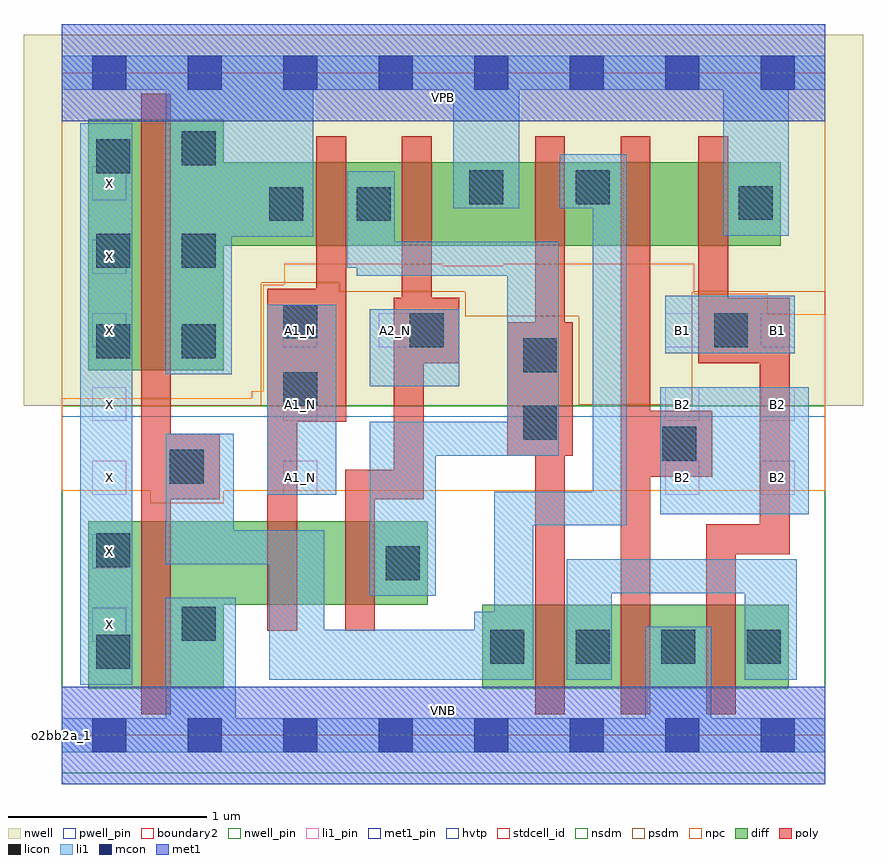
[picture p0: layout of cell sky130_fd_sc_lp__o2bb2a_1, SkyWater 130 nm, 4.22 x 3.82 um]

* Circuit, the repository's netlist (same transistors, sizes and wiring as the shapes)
* Copyright 2020 The SkyWater PDK Authors
*
* Licensed under the Apache License, Version 2.0 (the "License");
* you may not use this file except in compliance with the License.
* You may obtain a copy of the License at
*
*     https://www.apache.org/licenses/LICENSE-2.0
*
* Unless required by applicable law or agreed to in writing, software
* distributed under the License is distributed on an "AS IS" BASIS,
* WITHOUT WARRANTIES OR CONDITIONS OF ANY KIND, either express or implied.
* See the License for the specific language governing permissions and
* limitations under the License.
*
* SPDX-License-Identifier: Apache-2.0

.SUBCKT sky130_fd_sc_lp__o2bb2a_1 A1_N A2_N B1 B2 VGND VNB VPB VPWR X
*.PININFO A1_N:I A2_N:I B1:I B2:I VGND:I VNB:I VPB:I VPWR:I X:O
MMIN2 X y VGND VNB sky130_fd_pr__nfet_01v8 m=1 w=0.84U l=0.15U mult=1 sa=0.265
+ sb=0.265 sd=0.28 area=0.063 perim=1.14
MMNnand0 VGND A1_N sndNA1N VNB sky130_fd_pr__nfet_01v8 m=1 w=0.42U l=0.15U mult=1
+ sa=0.265 sb=0.265 sd=0.28 area=0.063 perim=1.14
MMNnand1 sndNA1N A2_N inand VNB sky130_fd_pr__nfet_01v8 m=1 w=0.42U l=0.15U mult=1
+ sa=0.265 sb=0.265 sd=0.28 area=0.063 perim=1.14
MMNaoi10 nmid B1 VGND VNB sky130_fd_pr__nfet_01v8 m=1 w=0.42U l=0.15U mult=1 sa=0.265
+ sb=0.265 sd=0.28 area=0.063 perim=1.14
MMNaoi11 nmid B2 VGND VNB sky130_fd_pr__nfet_01v8 m=1 w=0.42U l=0.15U mult=1 sa=0.265
+ sb=0.265 sd=0.28 area=0.063 perim=1.14
MMNaoi20 y inand nmid VNB sky130_fd_pr__nfet_01v8 m=1 w=0.42U l=0.15U mult=1 sa=0.265
+ sb=0.265 sd=0.28 area=0.063 perim=1.14
MMIP2 X y VPWR VPB sky130_fd_pr__pfet_01v8_hvt m=1 w=1.26U l=0.15U mult=1 sa=0.265
+ sb=0.265 sd=0.28 area=0.063 perim=1.14
MMPnand0 inand A1_N VPWR VPB sky130_fd_pr__pfet_01v8_hvt m=1 w=0.42U l=0.15U mult=1
+ sa=0.265 sb=0.265 sd=0.28 area=0.063 perim=1.14
MMPnand1 inand A2_N VPWR VPB sky130_fd_pr__pfet_01v8_hvt m=1 w=0.42U l=0.15U mult=1
+ sa=0.265 sb=0.265 sd=0.28 area=0.063 perim=1.14
MMPaoi10 VPWR B1 sndPB1 VPB sky130_fd_pr__pfet_01v8_hvt m=1 w=0.42U l=0.15U mult=1
+ sa=0.265 sb=0.265 sd=0.28 area=0.063 perim=1.14
MMPaoi11 sndPB1 B2 y VPB sky130_fd_pr__pfet_01v8_hvt m=1 w=0.42U l=0.15U mult=1
+ sa=0.265 sb=0.265 sd=0.28 area=0.063 perim=1.14
MMPaoi20 y inand VPWR VPB sky130_fd_pr__pfet_01v8_hvt m=1 w=0.42U l=0.15U mult=1
+ sa=0.265 sb=0.265 sd=0.28 area=0.063 perim=1.14
.ENDS sky130_fd_sc_lp__o2bb2a_1

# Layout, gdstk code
import gdstk
lib = gdstk.Library(unit=1e-6, precision=1e-09)
def R(c, l, rs):  # rectangles x0, y0, x1, y1
    for r in rs: c.add(gdstk.rectangle(r[:2], r[2:], *l))
def A(c, l, x, y, w, h, nx, ny, dx, dy):  # array of equal rectangles
    R(c, l, [(x+i*dx, y+j*dy, x+i*dx+w, y+j*dy+h) for i in range(nx) for j in range(ny)])
def P(c, l, *ps):  # polygons
    for p in ps: c.add(gdstk.Polygon(p, *l))
nwell_pin = (64, 16)
nwell = (64, 20)
diff = (65, 20)
poly = (66, 20)
licon = (66, 44)
li1_pin = (67, 16)
li1 = (67, 20)
mcon = (67, 44)
met1_pin = (68, 16)
met1 = (68, 20)
hvtp = (78, 44)
stdcell_id = (81, 4)
nsdm = (93, 44)
psdm = (94, 20)
npc = (95, 20)
pwell_pin = (122, 16)
boundary2 = (236, 0)

sky130_fd_sc_lp__o2bb2a_ = lib.new_cell('sky130_fd_sc_lp__o2bb2a_1')
R(sky130_fd_sc_lp__o2bb2a_, nwell_pin, [(0,3.085,3.84,3.33)])
R(sky130_fd_sc_lp__o2bb2a_, nwell, [(-0.19,1.655,4.03,3.52)])
R(sky130_fd_sc_lp__o2bb2a_, diff, [(2.115,0.235,3.655,0.655)])
P(sky130_fd_sc_lp__o2bb2a_, diff, [(1.84,1.075),(0.135,1.075),(0.135,0.235),(0.815,0.235),(0.815,0.655),(1.84,0.655)],
  [(3.615,2.88),(0.815,2.88),(0.815,3.095),(0.135,3.095),(0.135,1.835),(0.815,1.835),(0.815,2.46),(3.615,2.46)])
P(sky130_fd_sc_lp__o2bb2a_, poly, [(0.795,1.515),(0.55,1.515),(0.55,3.225),(0.4,3.225),(0.4,0.105),(0.55,0.105),(0.55,1.185),(0.795,1.185)],
  [(1.43,3.01),(1.28,3.01),(1.28,2.245),(1.035,2.245),(1.035,0.525),(1.185,0.525),(1.185,1.575),(1.43,1.575)],
  [(2,2.2),(1.86,2.2),(1.86,3.01),(1.71,3.01),(1.71,2.2),(1.67,2.2),(1.67,1.335),(1.425,1.335),(1.425,0.525),(1.575,0.525),(1.575,1.185),(1.82,1.185),(1.82,1.87),(2,1.87)],
  [(2.57,2.075),(2.53,2.075),(2.53,3.01),(2.38,3.01),(2.38,2.075),(2.24,2.075),(2.24,1.405),(2.38,1.405),(2.38,0.105),(2.53,0.105),(2.53,1.405),(2.57,1.405)],
  [(3.27,1.63),(2.96,1.63),(2.96,3.01),(2.81,3.01),(2.81,0.105),(2.96,0.105),(2.96,1.3),(3.27,1.3)],
  [(3.66,2.2),(3.35,2.2),(3.35,3.01),(3.2,3.01),(3.2,1.87),(3.51,1.87),(3.51,1.06),(3.24,1.06),(3.24,0.105),(3.39,0.105),(3.39,0.91),(3.66,0.91)])
A(sky130_fd_sc_lp__o2bb2a_, licon, 2.155, 0.36, 0.17, 0.17, 4, 1, 0.43, 0)
R(sky130_fd_sc_lp__o2bb2a_, licon, [(0.175,0.335,0.345,0.505), (0.605,0.475,0.775,0.645), (1.63,0.78,1.8,0.95), (0.175,0.845,0.345,1.015), (0.545,1.265,0.715,1.435), (3.02,1.38,3.19,1.55), (2.32,1.485,2.49,1.655), (1.115,1.655,1.285,1.825), (2.32,1.825,2.49,1.995), (0.175,1.895,0.345,2.065), (0.605,1.895,0.775,2.065), (1.75,1.95,1.92,2.12), (3.28,1.95,3.45,2.12), (1.115,1.995,1.285,2.165), (0.175,2.35,0.345,2.52), (0.605,2.35,0.775,2.52), (1.045,2.585,1.215,2.755), (1.485,2.585,1.655,2.755), (3.405,2.59,3.575,2.76), (2.05,2.67,2.22,2.84), (2.585,2.67,2.755,2.84), (0.175,2.825,0.345,2.995), (0.605,2.865,0.775,3.035)])
A(sky130_fd_sc_lp__o2bb2a_, li1_pin, 0.155, 0.47, 0.17, 0.17, 1, 7, 0, 0.37)
A(sky130_fd_sc_lp__o2bb2a_, li1_pin, 1.115, 1.21, 0.17, 0.17, 1, 3, 0, 0.37)
A(sky130_fd_sc_lp__o2bb2a_, li1_pin, 3.035, 1.21, 0.17, 0.17, 1, 3, 0, 0.37)
A(sky130_fd_sc_lp__o2bb2a_, li1_pin, 3.515, 1.21, 0.17, 0.17, 1, 3, 0, 0.37)
R(sky130_fd_sc_lp__o2bb2a_, li1_pin, [(1.595,1.95,1.765,2.12)])
R(sky130_fd_sc_lp__o2bb2a_, li1, [(0.095,0.255,0.355,3.075), (3.01,1.11,3.755,1.75), (1.035,1.21,1.38,2.165), (1.55,1.755,2,2.14), (3.035,1.92,3.685,2.21)])
P(sky130_fd_sc_lp__o2bb2a_, li1, [(2.84,2.92),(2.505,2.92),(2.505,2.65),(2.67,2.65),(2.67,1.225),(2.175,1.225),(2.175,0.62),(2.075,0.62),(2.075,0.53),(1.32,0.53),(1.32,1.03),(0.865,1.03),(0.865,1.515),(0.525,1.515),(0.525,0.86),(1.045,0.86),(1.045,0.28),(2.37,0.28),(2.37,1.055),(2.84,1.055)],
  [(3.84,3.415),(0,3.415),(0,3.245),(0.525,3.245),(0.525,1.815),(0.855,1.815),(0.855,2.505),(1.265,2.505),(1.265,3.245),(1.97,3.245),(1.97,2.65),(2.3,2.65),(2.3,3.245),(3.325,3.245),(3.325,2.51),(3.655,2.51),(3.655,3.245),(3.84,3.245)],
  [(0.525,0.085),(0.525,0.69),(0.875,0.69),(0.875,0.085),(2.935,0.085),(2.935,0.545),(3.265,0.545),(3.265,0.085),(3.84,0.085),(3.84,-0.085),(0,-0.085),(0,0.085)],
  [(2.5,2.48),(1.675,2.48),(1.675,2.835),(1.435,2.835),(1.435,2.35),(1.485,2.35),(1.485,2.31),(2.24,2.31),(2.24,1.575),(1.55,1.575),(1.55,0.7),(1.88,0.7),(1.88,1.405),(2.5,1.405)],
  [(3.435,0.715),(2.765,0.715),(2.765,0.28),(2.54,0.28),(2.54,0.885),(3.695,0.885),(3.695,0.28),(3.435,0.28)])
A(sky130_fd_sc_lp__o2bb2a_, mcon, 0.155, -0.085, 0.17, 0.17, 8, 2, 0.48, 3.33)
R(sky130_fd_sc_lp__o2bb2a_, met1_pin, [(0,0,3.84,0.245), (0,3.085,3.84,3.33)])
R(sky130_fd_sc_lp__o2bb2a_, met1, [(0,-0.245,3.84,0.245), (0,3.085,3.84,3.575)])
R(sky130_fd_sc_lp__o2bb2a_, hvtp, [(0,1.6,3.84,3.33)])
R(sky130_fd_sc_lp__o2bb2a_, stdcell_id, [(0,0,3.84,3.33)])
R(sky130_fd_sc_lp__o2bb2a_, nsdm, [(0,-0.19,3.84,1.655)])
P(sky130_fd_sc_lp__o2bb2a_, psdm, [(3.84,3.52),(0,3.52),(0,1.655),(1.005,1.655),(1.005,2.275),(1.395,2.275),(1.395,2.23),(2.03,2.23),(2.03,2.105),(2.6,2.105),(2.6,1.66),(3.17,1.66),(3.17,2.23),(3.84,2.23)])
P(sky130_fd_sc_lp__o2bb2a_, npc, [(3.84,2.115),(3.55,2.115),(3.55,2.22),(3.18,2.22),(3.18,2.37),(2.22,2.37),(2.22,2.36),(1.915,2.36),(1.915,2.37),(1.12,2.37),(1.12,2.265),(1.015,2.265),(1.015,1.73),(0.955,1.73),(0.955,1.695),(0,1.695),(0,1.23),(0.445,1.23),(0.445,1.165),(0.815,1.165),(0.815,1.23),(3.84,1.23)])
R(sky130_fd_sc_lp__o2bb2a_, pwell_pin, [(0,0,3.84,0.245)])
R(sky130_fd_sc_lp__o2bb2a_, boundary2, [(0,0,3.84,3.33)])
sky130_fd_sc_lp__o2bb2a_.add(gdstk.Label('VNB', (1.92,0.123), layer=64, texttype=59))
sky130_fd_sc_lp__o2bb2a_.add(gdstk.Label('VPB', (1.92,3.208), layer=64, texttype=5))
sky130_fd_sc_lp__o2bb2a_.add(gdstk.Label('o2bb2a_1', (0,0), layer=83, texttype=44))
sky130_fd_sc_lp__o2bb2a_.add(gdstk.Label('VPWR', (1.92,3.208), layer=68, texttype=5))
sky130_fd_sc_lp__o2bb2a_.add(gdstk.Label('VGND', (1.92,0.123), layer=68, texttype=5))
sky130_fd_sc_lp__o2bb2a_.add(gdstk.Label('X', (0.24,0.555), layer=67, texttype=5))
sky130_fd_sc_lp__o2bb2a_.add(gdstk.Label('X', (0.24,0.925), layer=67, texttype=5))
sky130_fd_sc_lp__o2bb2a_.add(gdstk.Label('X', (0.24,1.295), layer=67, texttype=5))
sky130_fd_sc_lp__o2bb2a_.add(gdstk.Label('X', (0.24,1.665), layer=67, texttype=5))
sky130_fd_sc_lp__o2bb2a_.add(gdstk.Label('X', (0.24,2.035), layer=67, texttype=5))
sky130_fd_sc_lp__o2bb2a_.add(gdstk.Label('X', (0.24,2.405), layer=67, texttype=5))
sky130_fd_sc_lp__o2bb2a_.add(gdstk.Label('X', (0.24,2.775), layer=67, texttype=5))
sky130_fd_sc_lp__o2bb2a_.add(gdstk.Label('A1_N', (1.2,1.295), layer=67, texttype=5))
sky130_fd_sc_lp__o2bb2a_.add(gdstk.Label('A1_N', (1.2,1.665), layer=67, texttype=5))
sky130_fd_sc_lp__o2bb2a_.add(gdstk.Label('A1_N', (1.2,2.035), layer=67, texttype=5))
sky130_fd_sc_lp__o2bb2a_.add(gdstk.Label('A2_N', (1.68,2.035), layer=67, texttype=5))
sky130_fd_sc_lp__o2bb2a_.add(gdstk.Label('B1', (3.12,2.035), layer=67, texttype=5))
sky130_fd_sc_lp__o2bb2a_.add(gdstk.Label('B1', (3.6,2.035), layer=67, texttype=5))
sky130_fd_sc_lp__o2bb2a_.add(gdstk.Label('B2', (3.12,1.295), layer=67, texttype=5))
sky130_fd_sc_lp__o2bb2a_.add(gdstk.Label('B2', (3.12,1.665), layer=67, texttype=5))
sky130_fd_sc_lp__o2bb2a_.add(gdstk.Label('B2', (3.6,1.295), layer=67, texttype=5))
sky130_fd_sc_lp__o2bb2a_.add(gdstk.Label('B2', (3.6,1.665), layer=67, texttype=5))

lib.write_gds('sky130_fd_sc_lp__o2bb2a_1.gds')
